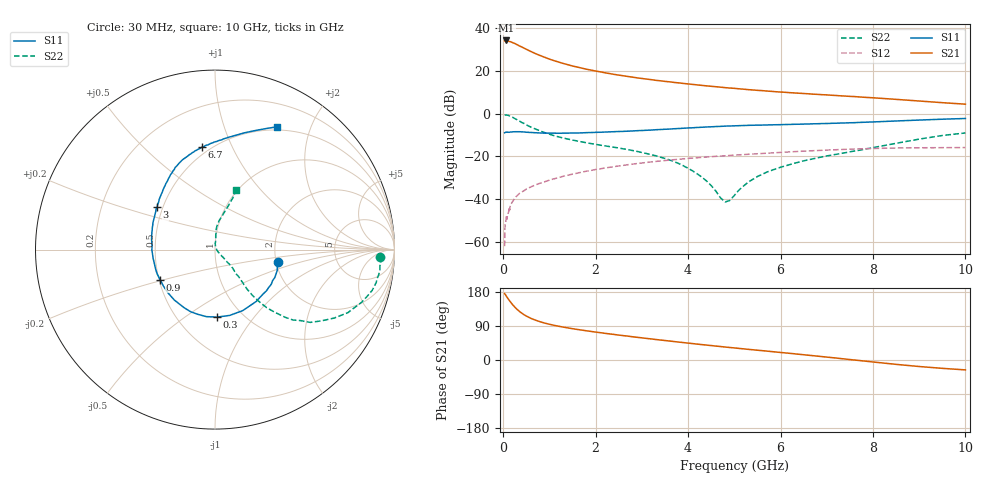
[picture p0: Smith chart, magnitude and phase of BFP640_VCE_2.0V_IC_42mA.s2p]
! (c) 2013  Infineon Technologies AG, Munich
! Infineon Technologies  Discrete & RF Semiconductors
! BFP640
! VCE =  2.0 V,  IC =  42 mA
! Common Emitter S-Parameters:  Apr 2013
# GHz  S  MA  R  50
!  f  S11  S21  S12  S22
! GHz  MAG  ANG  MAG  ANG  MAG  ANG  MAG  ANG
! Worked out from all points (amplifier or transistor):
!   99 points, 30 MHz to 10 GHz, reference 50 ohm
!   highest |S21| = 34.1 dB at 70 MHz (marker M1)
!   |S21| within 3 dB of that: start of sweep to 397.6 MHz
!   unconditionally stable (mu >= 1): start of sweep to 33.39 MHz; 1.512 GHz to end of sweep
!   at 350 MHz: K = 0.50, MSG = 34.5 dB, |S12| = -37.3 dB
!   at 3.5 GHz: K = 1.09, MAG = 16.7 dB, |S12| = -21.9 dB
!   at 10 GHz: K = 1.08, MAG = 8.4 dB, |S12| = -15.9 dB
!   S11 on the Smith chart (normalised r, x): 30 MHz: 2.04, -0.32; 300 MHz: 0.77, -0.67; 900 MHz: 0.51, -0.19; 3 GHz: 0.46, +0.26; 6.7 GHz: 0.45, +0.77; 10 GHz: 0.46, +1.53
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0.03  0.3555 -11.1  49.59 175.2  0.0008 80.0  0.9215 -2.5
0.05  0.3655 -18.2  50.79 172.1  0.0027 39.0  0.9234 -5.9
0.07  0.3677 -25.1  50.86 168.1  0.0042 72.8  0.9228 -8.7
0.11  0.3673 -38.8  49.13 160.8  0.0048 77.8  0.9045 -14.6
0.15  0.3692 -51.3  47.76 154.3  0.0071 75.5  0.8685 -19.7
0.2  0.3735 -65.6  45.4 146.4  0.0087 69.9  0.8193 -25.4
0.25  0.3757 -77.4  43.28 139.7  0.0106 67.5  0.7655 -29.9
0.3  0.3763 -88.3  40.56 133.5  0.0121 69.5  0.7136 -33.8
0.35  0.3766 -97.4  37.91 128.3  0.0136 68.3  0.6679 -37.4
0.45  0.3718 -111.5  33.67 119.5  0.0158 65.0  0.5867 -42.0
0.6  0.361 -128.8  28.06 109.8  0.0194 63.3  0.4817 -46.4
0.7  0.3559 -137.6  25.01 105.0  0.0216 62.7  0.4336 -48.3
0.9  0.3487 -151.3  20.54 97.3  0.0256 62.3  0.3574 -50.2
1.3  0.348 -171.7  14.74 86.8  0.0343 61.2  0.2676 -50.6
1.7  0.3535 174.2  11.5 78.9  0.0428 59.3  0.2176 -49.2
2.2  0.3696 160.9  8.953 70.4  0.0535 56.1  0.1759 -48.7
3  0.4014 143.6  6.59 58.5  0.07 50.1  0.123 -45.6
3.4  0.4233 136.1  5.812 52.8  0.078 46.7  0.0959 -45.7
5.1  0.5211 112.6  3.78 30.6  0.1084 31.7  0.0163 80.3
6.7  0.5757 97.2  2.836 11.4  0.1355 17.5  0.0876 86.6
8.5  0.6701 76.0  2.143 -11.5  0.1568 -0.7  0.2016 77.1
10  0.7662 63.2  1.654 -26.1  0.1607 -12.4  0.3523 70.5
